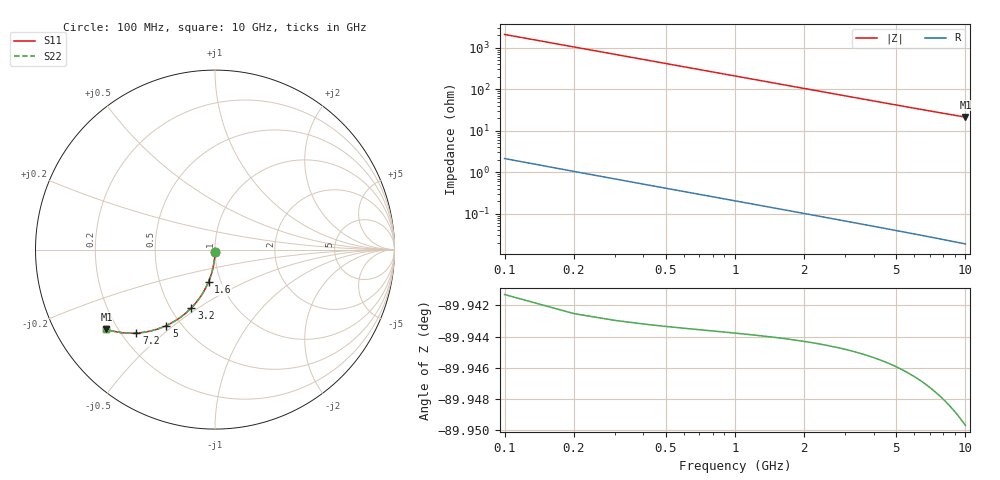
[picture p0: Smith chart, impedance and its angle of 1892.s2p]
# Hz S RI R 50.00
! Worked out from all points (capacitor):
!   100 points, 100 MHz to 10 GHz, reference 50 ohm
!   read as one part in shunt: C = 768 fF near 100 MHz
!   lowest |Z| = 21.2 ohm at 10 GHz (marker M1)
!   S11 on the Smith chart (normalised r, x): 100 MHz: 1.00, -0.02; 1.6 GHz: 0.87, -0.33; 3.2 GHz: 0.63, -0.47; 5 GHz: 0.42, -0.47; 7.2 GHz: 0.26, -0.41; 10 GHz: 0.16, -0.32
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1e8  -8.05e-05 -0.0116  0.9998 -0.0125  0.9998 -0.0125  -8.05e-05 -0.0116
2e8  -0.000528 -0.0233  0.9993 -0.0249  0.9993 -0.0249  -0.000528 -0.0233
3e8  -0.00127 -0.0349  0.9986 -0.0374  0.9986 -0.0374  -0.00127 -0.0349
4e8  -0.00229 -0.0465  0.9975 -0.0498  0.9975 -0.0498  -0.00229 -0.0465
5e8  -0.0036 -0.0581  0.9962 -0.0622  0.9962 -0.0622  -0.0036 -0.0581
6e8  -0.0052 -0.0696  0.9946 -0.0745  0.9946 -0.0745  -0.0052 -0.0696
7e8  -0.00709 -0.081  0.9927 -0.0868  0.9927 -0.0868  -0.00709 -0.081
9e8  -0.0117 -0.1037  0.9881 -0.1111  0.9881 -0.1111  -0.0117 -0.1037
1.2e9  -0.0206 -0.137  0.9792 -0.1469  0.9792 -0.1469  -0.0206 -0.137
1.6e9  -0.0361 -0.1798  0.9636 -0.193  0.9636 -0.193  -0.0361 -0.1798
1.8e9  -0.0453 -0.2003  0.9544 -0.2153  0.9544 -0.2153  -0.0453 -0.2003
2.4e9  -0.078 -0.2579  0.9217 -0.2779  0.9217 -0.2779  -0.078 -0.2579
3.2e9  -0.1311 -0.3239  0.8684 -0.3506  0.8684 -0.3506  -0.1311 -0.3239
3.4e9  -0.1456 -0.3383  0.8538 -0.3667  0.8538 -0.3667  -0.1456 -0.3383
4.2e9  -0.207 -0.3873  0.7922 -0.4226  0.7922 -0.4226  -0.207 -0.3873
5e9  -0.2709 -0.4231  0.728 -0.4653  0.728 -0.4653  -0.2709 -0.4231
5.1e9  -0.2789 -0.4267  0.72 -0.4697  0.72 -0.4697  -0.2789 -0.4267
5.9e9  -0.3421 -0.4492  0.6564 -0.4991  0.6564 -0.4991  -0.3421 -0.4492
6.7e9  -0.4026 -0.4616  0.5956 -0.5186  0.5956 -0.5186  -0.4026 -0.4616
7.2e9  -0.4384 -0.4651  0.5596 -0.5265  0.5596 -0.5265  -0.4384 -0.4651
8.4e9  -0.5169 -0.463  0.4803 -0.5353  0.4803 -0.5353  -0.5169 -0.463
1e10  -0.605 -0.4444  0.391 -0.5314  0.391 -0.5314  -0.605 -0.4444
